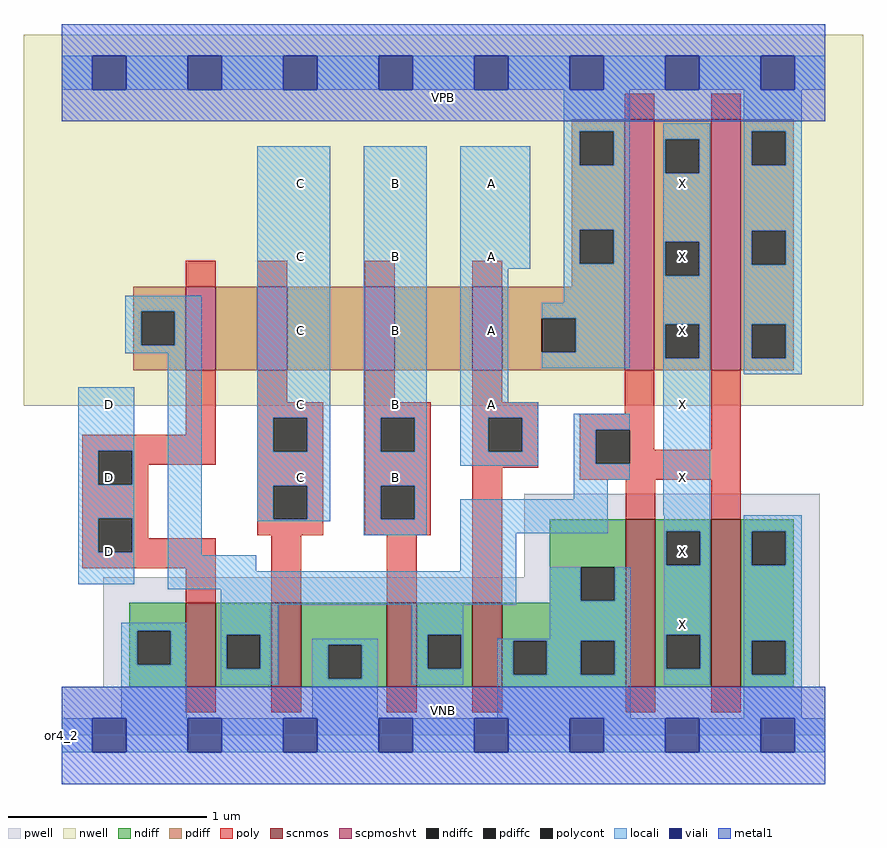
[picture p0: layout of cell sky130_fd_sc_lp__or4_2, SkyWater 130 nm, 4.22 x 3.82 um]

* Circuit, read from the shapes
.subckt sky130_fd_sc_lp__or4_2 A B C D VGND VNB VPB VPWR X
XM1 n1 D VGND VNB sky130_fd_pr__nfet_01v8 w=0.42 l=0.15
XM2 VGND C n1 VNB sky130_fd_pr__nfet_01v8 w=0.42 l=0.15
XM3 n1 B VGND VNB sky130_fd_pr__nfet_01v8 w=0.42 l=0.15
XM4 VGND A n1 VNB sky130_fd_pr__nfet_01v8 w=0.42 l=0.15
XM5 X n1 VGND VNB sky130_fd_pr__nfet_01v8 w=0.84 l=0.15 m=2
XM6 n2 D n1 VPB sky130_fd_pr__pfet_01v8_hvt w=0.42 l=0.15
XM7 n3 C n2 VPB sky130_fd_pr__pfet_01v8_hvt w=0.42 l=0.15
XM8 n4 B n3 VPB sky130_fd_pr__pfet_01v8_hvt w=0.42 l=0.15
XM9 VPWR A n4 VPB sky130_fd_pr__pfet_01v8_hvt w=0.42 l=0.15
XM10 X n1 VPWR VPB sky130_fd_pr__pfet_01v8_hvt w=1.26 l=0.15 m=2
.ends

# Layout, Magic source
magic
tech sky130A
magscale 1 2
<< nwell >>
rect -38 331 806 704
<< pwell >>
rect 465 159 762 243
rect 42 49 762 159
rect 0 0 768 49
<< scnmos >>
rect 125 49 155 133
rect 211 49 241 133
rect 327 49 357 133
rect 413 49 443 133
rect 567 49 597 217
rect 653 49 683 217
<< scpmoshvt >>
rect 125 367 155 451
rect 197 367 227 451
rect 305 367 335 451
rect 413 367 443 451
rect 566 367 596 619
rect 653 367 683 619
<< ndiff >>
rect 491 169 567 217
rect 491 135 522 169
rect 556 135 567 169
rect 491 133 567 135
rect 68 105 125 133
rect 68 71 76 105
rect 110 71 125 105
rect 68 49 125 71
rect 155 101 211 133
rect 155 67 166 101
rect 200 67 211 101
rect 155 49 211 67
rect 241 91 327 133
rect 241 57 268 91
rect 302 57 327 91
rect 241 49 327 57
rect 357 101 413 133
rect 357 67 368 101
rect 402 67 413 101
rect 357 49 413 67
rect 443 95 567 133
rect 443 61 454 95
rect 488 61 522 95
rect 556 61 567 95
rect 443 49 567 61
rect 597 205 653 217
rect 597 171 608 205
rect 642 171 653 205
rect 597 101 653 171
rect 597 67 608 101
rect 642 67 653 101
rect 597 49 653 67
rect 683 205 736 217
rect 683 171 694 205
rect 728 171 736 205
rect 683 95 736 171
rect 683 61 694 95
rect 728 61 736 95
rect 683 49 736 61
<< pdiff >>
rect 513 607 566 619
rect 513 573 521 607
rect 555 573 566 607
rect 513 508 566 573
rect 513 474 521 508
rect 555 474 566 508
rect 513 451 566 474
rect 72 426 125 451
rect 72 392 80 426
rect 114 392 125 426
rect 72 367 125 392
rect 155 367 197 451
rect 227 367 305 451
rect 335 367 413 451
rect 443 419 566 451
rect 443 385 483 419
rect 517 385 566 419
rect 443 367 566 385
rect 596 599 653 619
rect 596 565 607 599
rect 641 565 653 599
rect 596 496 653 565
rect 596 462 607 496
rect 641 462 653 496
rect 596 413 653 462
rect 596 379 607 413
rect 641 379 653 413
rect 596 367 653 379
rect 683 607 736 619
rect 683 573 694 607
rect 728 573 736 607
rect 683 507 736 573
rect 683 473 694 507
rect 728 473 736 507
rect 683 413 736 473
rect 683 379 694 413
rect 728 379 736 413
rect 683 367 736 379
<< ndiffc >>
rect 522 135 556 169
rect 76 71 110 105
rect 166 67 200 101
rect 268 57 302 91
rect 368 67 402 101
rect 454 61 488 95
rect 522 61 556 95
rect 608 171 642 205
rect 608 67 642 101
rect 694 171 728 205
rect 694 61 728 95
<< pdiffc >>
rect 521 573 555 607
rect 521 474 555 508
rect 80 392 114 426
rect 483 385 517 419
rect 607 565 641 599
rect 607 462 641 496
rect 607 379 641 413
rect 694 573 728 607
rect 694 473 728 507
rect 694 379 728 413
<< poly >>
rect 566 619 596 645
rect 653 619 683 645
rect 125 451 155 477
rect 197 451 227 477
rect 305 451 335 477
rect 413 451 443 477
rect 125 302 155 367
rect 21 286 155 302
rect 21 252 37 286
rect 71 272 155 286
rect 197 335 227 367
rect 305 335 335 367
rect 413 335 443 367
rect 197 319 263 335
rect 197 285 213 319
rect 247 285 263 319
rect 71 252 87 272
rect 21 218 87 252
rect 21 184 37 218
rect 71 198 87 218
rect 197 251 263 285
rect 197 217 213 251
rect 247 217 263 251
rect 197 201 263 217
rect 305 319 371 335
rect 305 285 321 319
rect 355 285 371 319
rect 305 251 371 285
rect 305 217 321 251
rect 355 217 371 251
rect 305 201 371 217
rect 413 319 479 335
rect 566 323 596 367
rect 413 285 429 319
rect 463 285 479 319
rect 413 269 479 285
rect 521 307 596 323
rect 521 273 537 307
rect 571 287 596 307
rect 653 287 683 367
rect 571 273 683 287
rect 71 184 155 198
rect 21 168 155 184
rect 125 133 155 168
rect 211 133 241 201
rect 327 133 357 201
rect 413 133 443 269
rect 521 257 683 273
rect 567 217 597 257
rect 653 217 683 257
rect 125 23 155 49
rect 211 23 241 49
rect 327 23 357 49
rect 413 23 443 49
rect 567 23 597 49
rect 653 23 683 49
<< polycont >>
rect 37 252 71 286
rect 213 285 247 319
rect 37 184 71 218
rect 213 217 247 251
rect 321 285 355 319
rect 321 217 355 251
rect 429 285 463 319
rect 537 273 571 307
<< locali >>
rect 0 649 31 683
rect 65 649 127 683
rect 161 649 223 683
rect 257 649 319 683
rect 353 649 415 683
rect 449 649 511 683
rect 545 649 607 683
rect 641 649 703 683
rect 737 649 768 683
rect 505 607 571 649
rect 64 426 141 442
rect 64 392 80 426
rect 114 392 141 426
rect 64 384 141 392
rect 17 286 73 350
rect 17 252 37 286
rect 71 252 73 286
rect 17 218 73 252
rect 17 184 37 218
rect 71 184 73 218
rect 17 152 73 184
rect 107 181 141 384
rect 197 319 270 592
rect 197 285 213 319
rect 247 285 270 319
rect 197 251 270 285
rect 197 217 213 251
rect 247 217 270 251
rect 197 215 270 217
rect 304 319 367 592
rect 304 285 321 319
rect 355 285 367 319
rect 304 251 367 285
rect 401 469 471 592
rect 505 573 521 607
rect 555 573 571 607
rect 505 508 571 573
rect 505 474 521 508
rect 555 474 571 508
rect 401 335 449 469
rect 505 435 571 474
rect 483 419 571 435
rect 517 385 571 419
rect 483 369 571 385
rect 605 599 652 615
rect 605 565 607 599
rect 641 565 652 599
rect 605 496 652 565
rect 605 462 607 496
rect 641 462 652 496
rect 605 413 652 462
rect 605 379 607 413
rect 641 379 652 413
rect 401 319 479 335
rect 401 285 429 319
rect 463 285 479 319
rect 401 271 479 285
rect 515 307 571 323
rect 515 273 537 307
rect 304 217 321 251
rect 355 217 367 251
rect 515 257 571 273
rect 515 237 549 257
rect 304 201 367 217
rect 401 203 549 237
rect 605 221 652 379
rect 686 607 744 649
rect 686 573 694 607
rect 728 573 744 607
rect 686 507 744 573
rect 686 473 694 507
rect 728 473 744 507
rect 686 413 744 473
rect 686 379 694 413
rect 728 379 744 413
rect 686 363 744 379
rect 606 205 652 221
rect 107 165 196 181
rect 401 165 457 203
rect 606 171 608 205
rect 642 171 652 205
rect 107 147 457 165
rect 160 131 457 147
rect 491 135 522 169
rect 556 135 572 169
rect 60 105 126 113
rect 60 71 76 105
rect 110 71 126 105
rect 60 17 126 71
rect 160 101 218 131
rect 160 67 166 101
rect 200 67 218 101
rect 352 101 404 131
rect 160 51 218 67
rect 252 91 318 97
rect 252 57 268 91
rect 302 57 318 91
rect 252 17 318 57
rect 352 67 368 101
rect 402 67 404 101
rect 491 97 572 135
rect 352 51 404 67
rect 438 95 572 97
rect 438 61 454 95
rect 488 61 522 95
rect 556 61 572 95
rect 438 17 572 61
rect 606 101 652 171
rect 606 67 608 101
rect 642 67 652 101
rect 606 51 652 67
rect 686 205 744 221
rect 686 171 694 205
rect 728 171 744 205
rect 686 95 744 171
rect 686 61 694 95
rect 728 61 744 95
rect 686 17 744 61
rect 0 -17 31 17
rect 65 -17 127 17
rect 161 -17 223 17
rect 257 -17 319 17
rect 353 -17 415 17
rect 449 -17 511 17
rect 545 -17 607 17
rect 641 -17 703 17
rect 737 -17 768 17
<< viali >>
rect 31 649 65 683
rect 127 649 161 683
rect 223 649 257 683
rect 319 649 353 683
rect 415 649 449 683
rect 511 649 545 683
rect 607 649 641 683
rect 703 649 737 683
rect 31 -17 65 17
rect 127 -17 161 17
rect 223 -17 257 17
rect 319 -17 353 17
rect 415 -17 449 17
rect 511 -17 545 17
rect 607 -17 641 17
rect 703 -17 737 17
<< metal1 >>
rect 0 683 768 715
rect 0 649 31 683
rect 65 649 127 683
rect 161 649 223 683
rect 257 649 319 683
rect 353 649 415 683
rect 449 649 511 683
rect 545 649 607 683
rect 641 649 703 683
rect 737 649 768 683
rect 0 617 768 649
rect 0 17 768 49
rect 0 -17 31 17
rect 65 -17 127 17
rect 161 -17 223 17
rect 257 -17 319 17
rect 353 -17 415 17
rect 449 -17 511 17
rect 545 -17 607 17
rect 641 -17 703 17
rect 737 -17 768 17
rect 0 -49 768 -17
<< labels >>
flabel pwell s 0 0 768 49 0 FreeSans 200 0 0 0 VNB
port 6 nsew ground bidirectional
flabel nwell s 0 617 768 666 0 FreeSans 200 0 0 0 VPB
port 7 nsew power bidirectional
rlabel comment s 0 0 0 0 4 or4_2
flabel metal1 s 0 617 768 666 0 FreeSans 340 0 0 0 VPWR
port 8 nsew power bidirectional
flabel metal1 s 0 0 768 49 0 FreeSans 340 0 0 0 VGND
port 5 nsew ground bidirectional
flabel locali s 607 94 641 128 0 FreeSans 340 0 0 0 X
port 9 nsew signal output
flabel locali s 607 168 641 202 0 FreeSans 340 0 0 0 X
port 9 nsew signal output
flabel locali s 607 242 641 276 0 FreeSans 340 0 0 0 X
port 9 nsew signal output
flabel locali s 607 316 641 350 0 FreeSans 340 0 0 0 X
port 9 nsew signal output
flabel locali s 607 390 641 424 0 FreeSans 340 0 0 0 X
port 9 nsew signal output
flabel locali s 607 464 641 498 0 FreeSans 340 0 0 0 X
port 9 nsew signal output
flabel locali s 607 538 641 572 0 FreeSans 340 0 0 0 X
port 9 nsew signal output
flabel locali s 415 316 449 350 0 FreeSans 340 0 0 0 A
port 1 nsew signal input
flabel locali s 415 390 449 424 0 FreeSans 340 0 0 0 A
port 1 nsew signal input
flabel locali s 415 464 449 498 0 FreeSans 340 0 0 0 A
port 1 nsew signal input
flabel locali s 415 538 449 572 0 FreeSans 340 0 0 0 A
port 1 nsew signal input
flabel locali s 319 242 353 276 0 FreeSans 340 0 0 0 B
port 2 nsew signal input
flabel locali s 319 316 353 350 0 FreeSans 340 0 0 0 B
port 2 nsew signal input
flabel locali s 319 390 353 424 0 FreeSans 340 0 0 0 B
port 2 nsew signal input
flabel locali s 319 464 353 498 0 FreeSans 340 0 0 0 B
port 2 nsew signal input
flabel locali s 319 538 353 572 0 FreeSans 340 0 0 0 B
port 2 nsew signal input
flabel locali s 223 242 257 276 0 FreeSans 340 0 0 0 C
port 3 nsew signal input
flabel locali s 223 316 257 350 0 FreeSans 340 0 0 0 C
port 3 nsew signal input
flabel locali s 223 390 257 424 0 FreeSans 340 0 0 0 C
port 3 nsew signal input
flabel locali s 223 464 257 498 0 FreeSans 340 0 0 0 C
port 3 nsew signal input
flabel locali s 223 538 257 572 0 FreeSans 340 0 0 0 C
port 3 nsew signal input
flabel locali s 31 168 65 202 0 FreeSans 340 0 0 0 D
port 4 nsew signal input
flabel locali s 31 242 65 276 0 FreeSans 340 0 0 0 D
port 4 nsew signal input
flabel locali s 31 316 65 350 0 FreeSans 340 0 0 0 D
port 4 nsew signal input
<< properties >>
string LEFsite unit
string LEFclass CORE
string FIXED_BBOX 0 0 768 666
string GDS_FILE $PDKPATH/libs.ref/sky130_fd_sc_lp/gds/sky130_fd_sc_lp.gds
string LEFsymmetry X Y R90
string GDS_END 295938
string GDS_START 287062
<< end >>
